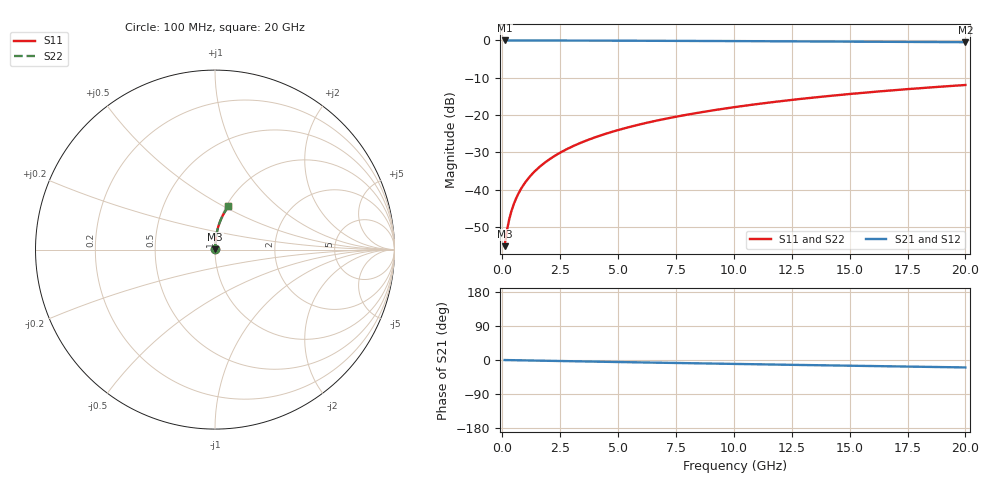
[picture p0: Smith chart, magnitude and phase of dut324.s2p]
! Touchstone file exported from HFSS 2024.1.0
!  File:  C:/UserFiles/LocalFiles/RDL_TSV_Batchsim/temp_RDL_bottom_324_1779611186.aedt
!  Generated:  04:29:00 PM May 24, 2026
!  Design:  RDL_bottom
!  Project:  temp_RDL_bottom_324_1779611186
!  Setup:  Setup1
!  Solution:  Sweep
! Variables:
!  dtsv = 10.80580581um
!  hbump = 3um
!  htsv = 72.81um
!  ldown = 206.31um
!  lrdl = 100um
!  p = 40
!  p1 = 58.47um
!  rhole = 1um
!  t = 450um
!  tdown = 4.67um
!  trdl = 3.915915916um
!  wdown = 14.82um
!  wrdl = 20um
# GHz S MA R 50.000000
! Terminal data exported
! Port[1] = RDL1_T1
! Port[2] = RDL1_T2
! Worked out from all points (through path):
!   200 points, 100 MHz to 20 GHz, reference 50 ohm
!   highest |S21| = -0.01 dB at 100 MHz (marker M1); lowest = -0.5 dB at 20 GHz (marker M2)
!   group delay of S21, straight-line fit = 2.71 ps
!   lowest |S11| = -55.1 dB at 100 MHz (marker M3), VSWR 1.00, Z = 50.1 + j0.13 ohm
!   |S11| at or under -10 dB: start of sweep to end of sweep
!   |S22| runs from -55.1 to -11.9 dB; largest |S21 - S12| = 3.8e-15
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0.1  0.001751 47.6  0.9988 -0.1  0.9988 -0.1  0.001751 47.6
! Gamma 0 0 0 0
! Port Impedance 50 0 50 0
0.2  0.002842 64.7  0.9988 -0.2  0.9988 -0.2  0.002842 64.7
0.3  0.004027 71.9  0.9987 -0.3  0.9987 -0.3  0.004027 71.9
0.4  0.005237 75.8  0.9987 -0.4  0.9987 -0.4  0.005237 75.8
0.5  0.006456 78.3  0.9986 -0.6  0.9986 -0.6  0.006456 78.3
0.7  0.008913 81.2  0.9985 -0.8  0.9985 -0.8  0.008913 81.2
0.8  0.01015 82.1  0.9985 -0.9  0.9985 -0.9  0.01015 82.1
1  0.01263 83.4  0.9984 -1.1  0.9984 -1.1  0.01263 83.4
1.2  0.01511 84.2  0.9982 -1.3  0.9982 -1.3  0.01511 84.2
1.4  0.0176 84.8  0.9981 -1.5  0.9981 -1.5  0.0176 84.8
1.7  0.02134 85.3  0.9978 -1.9  0.9978 -1.9  0.02134 85.3
2  0.02509 85.7  0.9975 -2.2  0.9975 -2.2  0.02509 85.7
2.7  0.03386 86.0  0.9966 -2.9  0.9966 -2.9  0.03386 86.0
3.5  0.04392 86.0  0.9953 -3.8  0.9953 -3.8  0.04392 86.0
4.2  0.05276 85.8  0.994 -4.5  0.994 -4.5  0.05276 85.8
5  0.06292 85.5  0.9923 -5.4  0.9923 -5.4  0.06292 85.5
6.8  0.08596 84.4  0.9881 -7.2  0.9881 -7.2  0.08596 84.4
8.3  0.1053 83.3  0.9841 -8.7  0.9841 -8.7  0.1053 83.3
10.1  0.1286 81.9  0.9791 -10.4  0.9791 -10.4  0.1286 81.9
13.4  0.1711 78.9  0.9691 -13.6  0.9691 -13.6  0.1711 78.9
16.7  0.2126 75.8  0.9582 -16.7  0.9582 -16.7  0.2126 75.8
20  0.2528 72.7  0.9464 -19.6  0.9464 -19.6  0.2528 72.7
